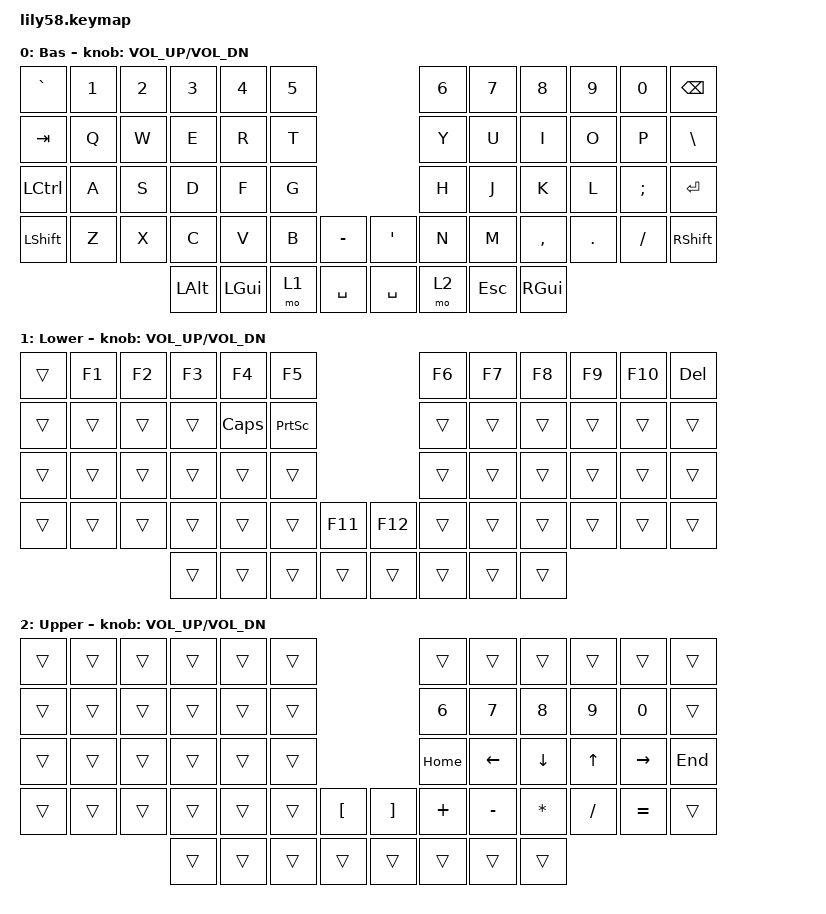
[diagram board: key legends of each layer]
/*
 * Copyright (c) 2020 The ZMK Contributors
 *
 * SPDX-License-Identifier: MIT
 */

#include <behaviors.dtsi>
#include <dt-bindings/zmk/keys.h>

/ {
    keymap {
        compatible = "zmk,keymap";

        default_layer {
            // ------------------------------------------------------------------------------------------------------------
            // |  ESC  |  1  |  2  |  3   |  4   |  5   |                   |  6   |  7    |  8    |  9   |   0   |   `   |
            // |  TAB  |  Q  |  W  |  E   |  R   |  T   |                   |  Y   |  U    |  I    |  O   |   P   |   -   |
            // |  CTRL |  A  |  S  |  D   |  F   |  G   |                   |  H   |  J    |  K    |  L   |   ;   |   '   |
            // | SHIFT |  Z  |  X  |  C   |  V   |  B   |   "["  |  |  "]"  |  N   |  M    |  ,    |  .   |   /   | SHIFT |
            //                     | ALT  | GUI  | LOWER|  SPACE |  | ENTER | RAISE| BSPC  | GUI   |

            display-name = "Bas";
            bindings = <
&kp GRAVE  &kp N1  &kp N2  &kp N3    &kp N4    &kp N5                          &kp N6  &kp N7   &kp N8     &kp N9   &kp N0    &kp BSPC
&kp TAB    &kp Q   &kp W   &kp E     &kp R     &kp T                           &kp Y   &kp U    &kp I      &kp O    &kp P     &kp BSLH
&kp LCTRL  &kp A   &kp S   &kp D     &kp F     &kp G                           &kp H   &kp J    &kp K      &kp L    &kp SEMI  &kp RET
&kp LSHFT  &kp Z   &kp X   &kp C     &kp V     &kp B   &kp MINUS    &kp SQT    &kp N   &kp M    &kp COMMA  &kp DOT  &kp FSLH  &kp RSHFT
                           &kp LALT  &kp LGUI  &mo 1   &kp SPACE    &kp SPACE  &mo 2   &kp ESC  &kp RGUI
            >;

            sensor-bindings = <&inc_dec_kp C_VOL_UP C_VOL_DN>;
        };

        lower_layer {
            // ------------------------------------------------------------------------------------------------------------
            // | BTCLR | BT1 | BT2 |  BT3 |  BT4 |  BT5 |                   |      |       |       |      |       |       |
            // |  F1   |  F2 |  F3 |  F4  |  F5  |  F6  |                   |  F7  |  F8   |  F9   |  F10 |  F11  |  F12  |
            // |   `   |  !  |  @  |  #   |  $   |  %   |                   |  ^   |  &    |  *    |  (   |   )   |   ~   |
            // |       |     |     |      |      |      |        |  |       |      |  _    |  +    |  {   |   }   |  "|"  |
            //                     |      |      |      |        |  |       |      |       |       |

            display-name = "Lower";
            bindings = <
&trans  &kp F1  &kp F2  &kp F3  &kp F4        &kp F5                               &kp F6  &kp F7  &kp F8  &kp F9  &kp F10  &kp DEL
&trans  &trans  &trans  &trans  &kp CAPSLOCK  &kp PRINTSCREEN                      &trans  &trans  &trans  &trans  &trans   &trans
&trans  &trans  &trans  &trans  &trans        &trans                               &trans  &trans  &trans  &trans  &trans   &trans
&trans  &trans  &trans  &trans  &trans        &trans           &kp F11    &kp F12  &trans  &trans  &trans  &trans  &trans   &trans
                        &trans  &trans        &trans           &trans     &trans   &trans  &trans  &trans
            >;

            sensor-bindings = <&inc_dec_kp C_VOL_UP C_VOL_DN>;
        };

        raise_layer {
            // ------------------------------------------------------------------------------------------------------------
            // |       |     |     |      |      |      |                   |      |       |       |      |       |       |
            // |   `   |  1  |  2  |  3   |  4   |  5   |                   |  6   |   7   |   8   |  9   |   0   |       |
            // |   F1  |  F2 |  F3 |  F4  |  F5  |  F6  |                   |      |   <-  |   v   |  ^   |  ->   |       |
            // |   F7  |  F8 |  F9 |  F10 |  F11 |  F12 |        |  |       |  +   |   -   |   =   |  [   |   ]   |   \   |
            //                     |      |      |      |        |  |       |      |       |       |

            display-name = "Upper";
            bindings = <
&trans  &trans  &trans  &trans  &trans  &trans                                         &trans       &trans    &trans    &trans    &trans     &trans
&trans  &trans  &trans  &trans  &trans  &trans                                         &kp N6       &kp N7    &kp N8    &kp N9    &kp N0     &trans
&trans  &trans  &trans  &trans  &trans  &trans                                         &kp HOME     &kp LEFT  &kp DOWN  &kp UP    &kp RIGHT  &kp END
&trans  &trans  &trans  &trans  &trans  &trans  &kp LEFT_BRACKET    &kp RIGHT_BRACKET  &kp PLUS     &kp MINUS &kp STAR  &kp FSLH  &kp EQUAL  &trans
                        &trans  &trans  &trans  &trans              &trans             &trans       &trans    &trans
            >;

            sensor-bindings = <&inc_dec_kp C_VOL_UP C_VOL_DN>;
        };

        extra_1 { status = "reserved"; };

        extra_2 { status = "reserved"; };

        extra_3 { status = "reserved"; };
    };
};
